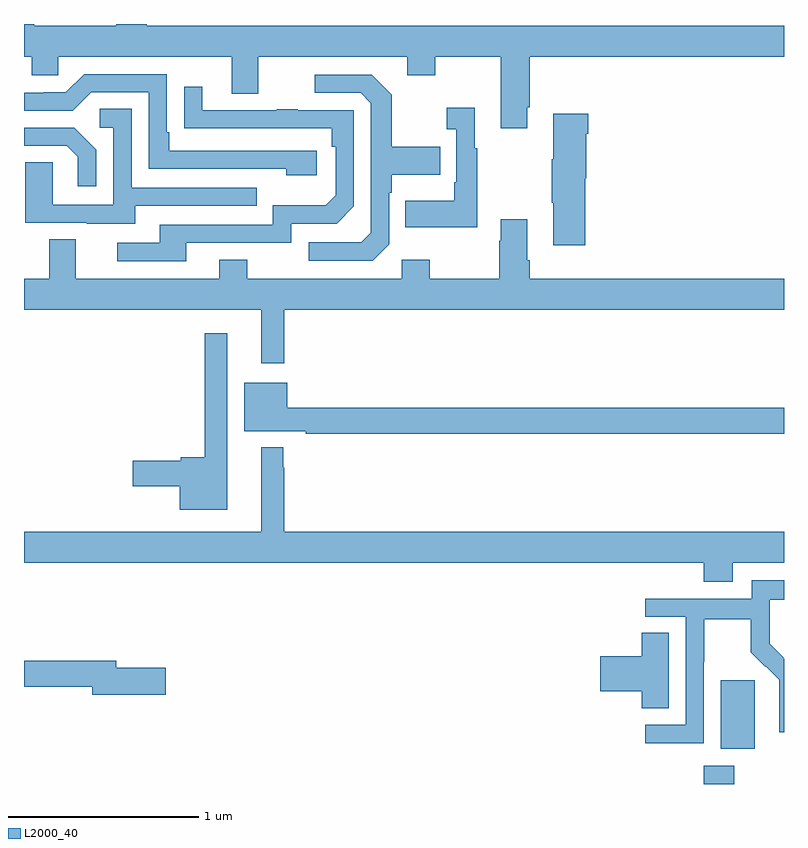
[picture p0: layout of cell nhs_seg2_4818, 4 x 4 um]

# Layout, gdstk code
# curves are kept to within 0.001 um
import gdstk
lib = gdstk.Library(unit=1e-6, precision=1e-09)
def R(c, l, rs):  # rectangles x0, y0, x1, y1
    for r in rs: c.add(gdstk.rectangle(r[:2], r[2:], *l))
def P(c, l, *ps):  # polygons
    for p in ps: c.add(gdstk.Polygon(p, *l))
L2000_40 = (2000, 40)

nhs_seg2_4818 = lib.new_cell('nhs_seg2_4818')
R(nhs_seg2_4818, L2000_40, [(376.577,651.8,376.737,651.895), (376.667,651.986,376.846,652.347)])
P(nhs_seg2_4818, L2000_40, [(375.649,655.363),(375.662,655.363),(375.662,655.628),(377,655.628),(377,655.792),(373.646,655.792),(373.646,655.8),(373.486,655.8),(373.486,655.792),(373.053,655.792),(373.053,655.8),(373,655.8),(373,655.628),(373.041,655.628),(373.041,655.53),(373.179,655.53),(373.179,655.628),(374.093,655.628),(374.093,655.434),(374.233,655.434),(374.233,655.628),(375.017,655.628),(375.017,655.529),(375.165,655.529),(375.165,655.628),(375.509,655.628),(375.509,655.251),(375.649,655.251)],
  [(374.542,655.134),(373.765,655.134),(373.765,655.231),(373.752,655.231),(373.752,655.536),(373.317,655.536),(373.221,655.44),(373.103,655.44),(373.103,655.437),(373,655.437),(373,655.344),(373.257,655.344),(373.353,655.44),(373.656,655.44),(373.656,655.038),(374.381,655.038),(374.381,655.004),(374.542,655.004)],
  [(374.922,654.642),(374.922,654.911),(374.935,654.911),(374.935,655.007),(375.191,655.007),(375.191,655.155),(374.935,655.155),(374.935,655.427),(374.829,655.533),(374.529,655.533),(374.529,655.437),(374.772,655.437),(374.826,655.383),(374.826,654.702),(374.775,654.651),(374.499,654.651),(374.499,654.555),(374.835,654.555)],
  [(373.855,654.648),(374.406,654.648),(374.406,654.75),(374.646,654.75),(374.736,654.84),(374.736,655.347),(374.441,655.347),(374.441,655.352),(374.329,655.352),(374.329,655.347),(373.939,655.347),(373.939,655.471),(373.843,655.471),(373.843,655.252),(374.62,655.251),(374.62,655.154),(374.64,655.154),(374.64,654.9),(374.587,654.847),(374.31,654.847),(374.31,654.744),(373.715,654.744),(373.715,654.648),(373.491,654.648),(373.491,654.552),(373.855,654.552)],
  [(375.385,655.147),(375.373,655.147),(375.373,655.36),(375.225,655.36),(375.225,655.247),(375.276,655.247),(375.276,654.967),(375.264,654.967),(375.264,654.871),(375.007,654.871),(375.007,654.731),(375.385,654.731)],
  [(373.585,654.843),(374.225,654.843),(374.225,654.939),(373.566,654.939),(373.566,655.355),(373.398,655.355),(373.398,655.254),(373.47,655.254),(373.47,654.849),(373.152,654.849),(373.152,655.073),(373.007,655.073),(373.007,654.753),(373.331,654.753),(373.331,654.749),(373.585,654.749)],
  [(375.953,654.987),(375.958,654.987),(375.958,655.223),(375.971,655.223),(375.971,655.327),(375.785,655.327),(375.785,655.087),(375.778,655.087),(375.778,654.859),(375.785,654.859),(375.785,654.636),(375.953,654.636)],
  [(373.38,655.138),(373.264,655.254),(373,655.254),(373,655.158),(373.226,655.158),(373.283,655.101),(373.283,654.945),(373.38,654.945)],
  [(374.371,654.296),(377,654.296),(377,654.46),(375.662,654.46),(375.662,654.556),(375.649,654.556),(375.649,654.772),(375.509,654.772),(375.509,654.659),(375.502,654.659),(375.502,654.46),(375.135,654.46),(375.135,654.559),(374.988,654.559),(374.988,654.46),(374.175,654.46),(374.175,654.559),(374.027,654.559),(374.027,654.46),(373.273,654.46),(373.273,654.668),(373.133,654.668),(373.133,654.46),(373,654.46),(373,654.296),(374.249,654.296),(374.249,654.015),(374.371,654.015)],
  [(374.071,654.172),(373.95,654.172),(373.95,653.519),(373.824,653.519),(373.824,653.501),(373.572,653.501),(373.572,653.366),(373.82,653.366),(373.82,653.243),(374.071,653.243)],
  [(377,653.78),(374.386,653.78),(374.386,653.911),(374.159,653.911),(374.159,653.657),(374.482,653.657),(374.482,653.644),(377,653.644)],
  [(376.729,652.964),(377,652.964),(377,653.128),(374.371,653.128),(374.371,653.465),(374.364,653.465),(374.364,653.572),(374.249,653.572),(374.249,653.128),(373,653.128),(373,652.964),(376.577,652.964),(376.577,652.865),(376.729,652.865)],
  [(376.578,652.444),(376.581,652.444),(376.581,652.668),(376.825,652.668),(376.825,652.493),(376.902,652.416),(376.905,652.419),(376.976,652.349),(376.976,652.226),(376.974,652.226),(376.974,652.072),(377,652.072),(377,652.46),(376.997,652.463),(376.998,652.464),(376.924,652.538),(376.924,652.635),(376.926,652.635),(376.926,652.769),(377,652.769),(377,652.873),(376.83,652.873),(376.83,652.776),(376.269,652.776),(376.269,652.68),(376.482,652.68),(376.482,652.113),(376.269,652.113),(376.269,652.015),(376.578,652.015)],
  [(376.393,652.595),(376.25,652.595),(376.25,652.472),(376.032,652.472),(376.032,652.289),(376.25,652.289),(376.25,652.198),(376.393,652.198)],
  [(373.747,652.412),(373.486,652.412),(373.486,652.448),(373,652.448),(373,652.312),(373.358,652.312),(373.358,652.27),(373.747,652.27)])

lib.write_gds('nhs_seg2_4818.gds')
